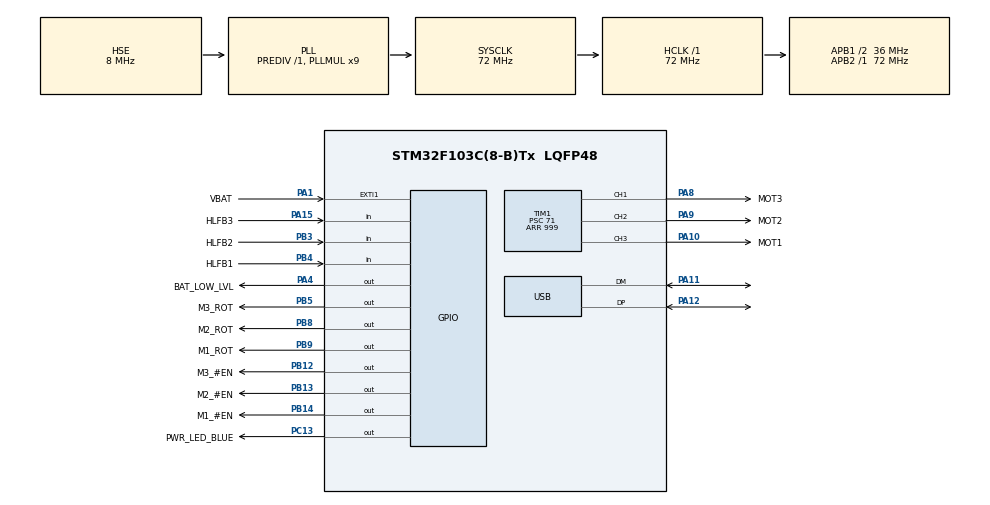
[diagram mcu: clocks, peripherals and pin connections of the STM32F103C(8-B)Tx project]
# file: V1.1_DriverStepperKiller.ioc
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Mcu.Family=STM32F1
Mcu.Name=STM32F103C(8-B)Tx
Mcu.Package=LQFP48
NVIC.EXTI1_IRQn=true\:0\:0\:true\:false\:true\:true
NVIC.PriorityGroup=NVIC_PRIORITYGROUP_4
NVIC.TIM1_BRK_IRQn=true\:0\:0\:false\:false\:true\:true
NVIC.TIM1_CC_IRQn=true\:0\:0\:false\:false\:true\:true
NVIC.TIM1_UP_IRQn=true\:0\:0\:false\:false\:true\:true
NVIC.USB_HP_CAN1_TX_IRQn=true\:1\:0\:true\:false\:true\:true
NVIC.USB_LP_CAN1_RX0_IRQn=true\:0\:0\:false\:false\:true\:false
PA1.GPIO_Label=VBAT
PA1.GPIO_ModeDefaultEXTI=GPIO_MODE_IT_FALLING
PA1.Signal=GPXTI1
PA10.GPIO_Label=MOT1
PA10.GPIO_Speed=GPIO_SPEED_FREQ_HIGH
PA10.Signal=S_TIM1_CH3
PA11.Mode=Device
PA11.Signal=USB_DM
PA12.Mode=Device
PA12.Signal=USB_DP
PA13.Mode=Serial_Wire
PA13.Signal=SYS_JTMS-SWDIO
PA14.Mode=Serial_Wire
PA14.Signal=SYS_JTCK-SWCLK
PA15.GPIO_Label=HLFB3
PA15.Signal=GPIO_Input
PA4.GPIO_Label=BAT_LOW_LVL
PA4.GPIO_Speed=GPIO_SPEED_FREQ_LOW
PA4.PinState=GPIO_PIN_SET
PA4.Signal=GPIO_Output
PA8.GPIO_Label=MOT3
PA8.GPIO_Speed=GPIO_SPEED_FREQ_HIGH
PA8.Signal=S_TIM1_CH1
PA9.GPIO_Label=MOT2
PA9.GPIO_Speed=GPIO_SPEED_FREQ_HIGH
PA9.Signal=S_TIM1_CH2
PB12.GPIO_Label=M3_\#EN
PB12.GPIO_Speed=GPIO_SPEED_FREQ_LOW
PB12.PinState=GPIO_PIN_SET
PB12.Signal=GPIO_Output
PB13.GPIO_Label=M2_\#EN
PB13.PinState=GPIO_PIN_SET
PB13.Signal=GPIO_Output
PB14.GPIO_Label=M1_\#EN
PB14.PinState=GPIO_PIN_SET
PB14.Signal=GPIO_Output
PB3.GPIO_Label=HLFB2
PB3.Signal=GPIO_Input
PB4.GPIO_Label=HLFB1
PB4.Signal=GPIO_Input
PB5.GPIO_Label=M3_ROT
PB5.GPIO_Speed=GPIO_SPEED_FREQ_HIGH
PB5.Signal=GPIO_Output
PB8.GPIO_Label=M2_ROT
PB8.GPIO_Speed=GPIO_SPEED_FREQ_HIGH
PB8.Signal=GPIO_Output
PB9.GPIO_Label=M1_ROT
PB9.GPIO_Speed=GPIO_SPEED_FREQ_HIGH
PB9.Signal=GPIO_Output
PC13-TAMPER-RTC.GPIO_Label=PWR_LED_BLUE
PC13-TAMPER-RTC.PinState=GPIO_PIN_SET
PC13-TAMPER-RTC.Signal=GPIO_Output
PD0-OSC_IN.Mode=HSE-External-Oscillator
PD0-OSC_IN.Signal=RCC_OSC_IN
PD1-OSC_OUT.Mode=HSE-External-Oscillator
PD1-OSC_OUT.Signal=RCC_OSC_OUT
ProjectManager.HeapSize=0x200
ProjectManager.StackSize=0x400
ProjectManager.TargetToolchain=MDK-ARM V5
RCC.ADCPresc=RCC_ADCPCLK2_DIV6
RCC.AHBFreq_Value=72000000
RCC.APB1CLKDivider=RCC_HCLK_DIV2
RCC.APB1Freq_Value=36000000
RCC.APB1TimFreq_Value=72000000
RCC.APB2Freq_Value=72000000
RCC.APB2TimFreq_Value=72000000
RCC.HCLKFreq_Value=72000000
RCC.PLLMUL=RCC_PLL_MUL9
RCC.SYSCLKFreq_VALUE=72000000
RCC.SYSCLKSource=RCC_SYSCLKSOURCE_PLLCLK
RCC.USBFreq_Value=48000000
RCC.USBPrescaler=RCC_USBCLKSOURCE_PLL_DIV1_5
SH.S_TIM1_CH1.0=TIM1_CH1,PWM Generation1 CH1
SH.S_TIM1_CH2.0=TIM1_CH2,PWM Generation2 CH2
SH.S_TIM1_CH3.0=TIM1_CH3,PWM Generation3 CH3
TIM1.Channel-PWM\ Generation1\ CH1=TIM_CHANNEL_1
TIM1.Channel-PWM\ Generation2\ CH2=TIM_CHANNEL_2
TIM1.Channel-PWM\ Generation3\ CH3=TIM_CHANNEL_3
TIM1.OCMode_PWM-PWM\ Generation1\ CH1=TIM_OCMODE_PWM1
TIM1.OCMode_PWM-PWM\ Generation2\ CH2=TIM_OCMODE_PWM1
TIM1.Period=999
TIM1.Prescaler=71
TIM1.Pulse-PWM\ Generation1\ CH1=499
TIM1.Pulse-PWM\ Generation2\ CH2=499
TIM1.Pulse-PWM\ Generation3\ CH3=499
TIM1.TIM_MasterOutputTrigger=TIM_TRGO_RESET
USB.ep0_mps=DEP0CTL_MPS_8
USB.low_power_enable=DISABLE
USB_DEVICE.CLASS_NAME_FS=CDC
USB_DEVICE.VirtualMode=Cdc
USB_DEVICE.VirtualModeFS=Cdc_FS
VP_TIM1_VS_ClockSourceINT.Mode=Internal
VP_TIM1_VS_OPM.Mode=OPM_bit
VP_USB_DEVICE_VS_USB_DEVICE_CDC_FS.Mode=CDC_FS
VP_WWDG_VS_WWDG.Mode=WWDG_Activate
WWDG.Prescaler=WWDG_PRESCALER_4
board=V1.1_DriverStepperKiller

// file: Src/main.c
/**
  ******************************************************************************
  * @file           : main.c
  * @brief          : Main program body
  ******************************************************************************
  * This notice applies to any and all portions of this file
  * that are not between comment pairs USER CODE BEGIN and
  * USER CODE END. Other portions of this file, whether
  * inserted by the user or by software development tools
  * are owned by their respective copyright owners.
  *
  * Copyright (c) 2018 STMicroelectronics International N.V.
  * All rights reserved.
  *
  * Redistribution and use in source and binary forms, with or without
  * modification, are permitted, provided that the following conditions are met:
  *
  * 1. Redistribution of source code must retain the above copyright notice,
  *    this list of conditions and the following disclaimer.
  * 2. Redistributions in binary form must reproduce the above copyright notice,
  *    this list of conditions and the following disclaimer in the documentation
  *    and/or other materials provided with the distribution.
  * 3. Neither the name of STMicroelectronics nor the names of other
  *    contributors to this software may be used to endorse or promote products
  *    derived from this software without specific written permission.
  * 4. This software, including modifications and/or derivative works of this
  *    software, must execute solely and exclusively on microcontroller or
  *    microprocessor devices manufactured by or for STMicroelectronics.
  * 5. Redistribution and use of this software other than as permitted under
  *    this license is void and will automatically terminate your rights under
  *    this license.
  *
  * THIS SOFTWARE IS PROVIDED BY STMICROELECTRONICS AND CONTRIBUTORS "AS IS"
  * AND ANY EXPRESS, IMPLIED OR STATUTORY WARRANTIES, INCLUDING, BUT NOT
  * LIMITED TO, THE IMPLIED WARRANTIES OF MERCHANTABILITY, FITNESS FOR A
  * PARTICULAR PURPOSE AND NON-INFRINGEMENT OF THIRD PARTY INTELLECTUAL PROPERTY
  * RIGHTS ARE DISCLAIMED TO THE FULLEST EXTENT PERMITTED BY LAW. IN NO EVENT
  * SHALL STMICROELECTRONICS OR CONTRIBUTORS BE LIABLE FOR ANY DIRECT, INDIRECT,
  * INCIDENTAL, SPECIAL, EXEMPLARY, OR CONSEQUENTIAL DAMAGES (INCLUDING, BUT NOT
  * LIMITED TO, PROCUREMENT OF SUBSTITUTE GOODS OR SERVICES; LOSS OF USE, DATA,
  * OR PROFITS; OR BUSINESS INTERRUPTION) HOWEVER CAUSED AND ON ANY THEORY OF
  * LIABILITY, WHETHER IN CONTRACT, STRICT LIABILITY, OR TORT (INCLUDING
  * NEGLIGENCE OR OTHERWISE) ARISING IN ANY WAY OUT OF THE USE OF THIS SOFTWARE,
  * EVEN IF ADVISED OF THE POSSIBILITY OF SUCH DAMAGE.
  *
  ******************************************************************************
  */
#include "main.h"
#include "stm32f1xx_hal.h"
#include "usb_device.h"
#include "usbd_cdc_if.h"

TIM_HandleTypeDef htim1;
WWDG_HandleTypeDef hwwdg;

/* USER CODE BEGIN PV */
/* Private variables ---------------------------------------------------------*/
// Constant char that specifies the motor index/nr
const uint8_t user_motNr = '1';
// This variable specifies the type of the received message
uint8_t user_received_flag_USB_msg = FLAG_UNKNOWN;

// Variable that holds the conversion value from distance in mmm to motor steps
double user_mot_revolutions = 0;

// Flag to update the RCR of timer 1
uint8_t user_flag_update_RCR = FALSE;

// Flags to account for actions taken by the user regarding, the commanded steps,distance,vel, angular vel to be performed
uint8_t user_flag_steps_to_be_performed_SET = FALSE,
				user_flag_distance_to_be_performed_SET = FALSE,
				user_flag_mot_RPM_SET = FALSE,
				user_flag_load_vel_SET = FALSE;

// Flag to account for the update of the timer registers
volatile uint8_t user_flag_TIMER_registers_update_SET = FALSE;

// This variables will be used in conjontion with the RCR (timer Repetition Counter Register)
//uint8_t user_currentStepNr = 0;
uint32_t user_number_of_RCR_overflows = 0;
uint8_t user_remaining_RCR_val = 0;

// Var that is not used yet
uint8_t user_maxStepNr = MAX_RCR_VAL;

// Var that holds the total number of performed steps and distance
int32_t user_total_steps_performed = 0;
double user_total_distance_performed = 0;

// Var that is used to compute how long takes for one mechanical rotation after the motor rezolution will be set
// From the above variable we can compute the pwm period and frequency. This will be done later in the code
double user_one_rotation_time = 0.0;
uint32_t user_pwm_period = 0;
uint32_t user_pwm_frequency = 0;

// Array of possible motor step resolutions
uint32_t user_globalStepRes[9] = {STEPS_PER_REV_200,
														 STEPS_PER_REV_400,
														 STEPS_PER_REV_800,
														 STEPS_PER_REV_1600,
														 STEPS_PER_REV_3200,
														 STEPS_PER_REV_6400,
														 STEPS_PER_REV_12800,
														 STEPS_PER_REV_25600,
														 STEPS_PER_REV_51200};

// Variables that hold the minimum accepted period of the PWM signal, which is set according to the USER selected motor rezolution
uint16_t user_pwm_min_period[9] = {PWM_MIN_PERIOD_AT_200_US,
																	PWM_MIN_PERIOD_AT_400_US,
																	PWM_MIN_PERIOD_AT_800_US,
																	PWM_MIN_PERIOD_AT_1600_US,
																	PWM_MIN_PERIOD_AT_3200_US,
																	PWM_MIN_PERIOD_AT_6400_US,
																	PWM_MIN_PERIOD_AT_12800_US,
																	PWM_MIN_PERIOD_AT_25600_US,
																	PWM_MIN_PERIOD_AT_51200_US};

// Variables that hold the motor step rezolution, axis length, screw step, and mass of the load, set by the USER
uint32_t user_set_mot_rez = 0;
uint16_t user_set_axis_len = 0, user_set_load_mass = 0;
uint8_t user_set_screw_step = 0;

// Variables that hod the comand parameteres of the comand messages
uint32_t user_set_steps = 0;

double user_set_distance = 0.0;
uint16_t Iuser_set_distance = 0;
uint8_t Fuser_set_distance = 0;

double user_mot_max_RPM = 0.0;
double user_set_motor_RPM = 0.0;
uint16_t Iuser_set_motor_RPM = 0;
uint8_t Fuser_set_motor_RPM = 0;

double user_load_max_vel = 0.0;
double user_set_load_vel = 0.0;
uint16_t Iuser_set_load_vel = 0;
uint8_t Fuser_set_load_vel = 0;

// Variable that holds the desired direction of the motor
uint8_t user_set_mot_direction = 0;

// Fixed messages that are not used yet
const uint8_t mot_start[]="@M1START\r";
const uint8_t mot_stop[]="@M1STOP\r";
const uint8_t okMsg[5]="#EOK\r";

/* USER CODE END PV */

void SystemClock_Config(void);
static void MX_GPIO_Init(void);
static void MX_TIM1_Init(void);
static void MX_WWDG_Init(void);
void HAL_TIM_MspPostInit(TIM_HandleTypeDef *htim);

/* USER CODE BEGIN PFP */
/* Private function prototypes -----------------------------------------------*/
static void USER_Clear_Array(uint8_t* array);
static uint8_t USER_Decode_Msg(void);
static uint8_t USER_ExtractNumber_FromString(uint32_t * Destination,
											 uint8_t * String,
											 uint8_t StartPosition,
											 uint8_t Length);

static void USER_Set_Mot_Dir(uint8_t direction);
static void USER_Set_Load_Dir(uint8_t direction);
static void USER_Compute_Pwm_Period(double motor_RPM);
static void USER_Start_Motor(void);
static void USER_Stop_Motor(void);
/* USER CODE END PFP */

int main(void)
{

  /* MCU Configuration----------------------------------------------------------*/

  /* Reset of all peripherals, Initializes the Flash interface and the Systick. */
  HAL_Init();

  /* Configure the system clock */
  SystemClock_Config();

  /* Initialize all configured peripherals */
  MX_GPIO_Init();
  MX_TIM1_Init();
  MX_USB_DEVICE_Init();
//  MX_WWDG_Init();
  /* Infinite loop */
  /* USER CODE BEGIN WHILE */
  while (1)
  {
		switch(user_received_flag_USB_msg)
		{
			case FLAG_UNKNOWN:
				break;

			case FLAG_OK:
				//CDC_Transmit_FS((uint8_t*)"#EOK\r",5);
				if(USER_Decode_Msg())
				{
					user_received_flag_USB_msg = FLAG_UNKNOWN;
					//HAL_GPIO_WritePin(GPIOC, GPIO_PIN_13, GPIO_PIN_SET);
				}
				else
					CDC_Transmit_FS((uint8_t*)"#ERR\r",5);
				break;

			case FLAG_OVERFLOW:
				break;

			case FLAG_ERR:
				break;
		}

  /* USER CODE END WHILE */

  }

}

//void HAL_TIM_PeriodElapsedCallback(TIM_HandleTypeDef *htim)
//{
//	if(htim->Instance == htim1.Instance)
//	{
//		// If we want an update the above flag is FALSE before executing the following line
//		if(!user_flag_TIMER_registers_update_SET)
//		{
//			user_flag_TIMER_registers_update_SET = TRUE;
//			//CDC_Transmit_FS((uint8_t*)"1",1);
//		}
//		// Else, we have a RCR overflow event
//		else
//		{
//			// Here we account for the number RCR overflows
//			if(user_number_of_RCR_overflows)
//			{
//				//CDC_Transmit_FS((uint8_t*)"#2",1);
//				user_number_of_RCR_overflows--;
//				/* Enable the Peripheral */
//				__HAL_TIM_ENABLE(htim);
//			}
//			else
//			{
//				if(user_remaining_RCR_val)
//				{
//					if(user_set_steps>MAX_RCR_VAL)
//					{
//						//CDC_Transmit_FS((uint8_t*)"#3",1);
//						// Because we need to change the value of RCR, an update of TIM1 registres is needed, therefore we change user_flag_TIMER_registers_update_SET to FALSE
//						// and next time the interrupt is fired, we enter the first IF STATEMENT.
//						htim1.Instance->RCR = user_remaining_RCR_val;
//						htim1.Instance->EGR = TIM_EGR_UG;
//						user_flag_TIMER_registers_update_SET = FALSE;
//						user_remaining_RCR_val = 0;
//						/* Enable the Peripheral */
//						__HAL_TIM_ENABLE(htim);
//					}
//					else
//					{
//						//CDC_Transmit_FS((uint8_t*)"4",1);
//						user_remaining_RCR_val = 0;
//						/* Enable the Peripheral */
//						__HAL_TIM_ENABLE(htim);
//					}
//				}
//				else
//				{
//					//CDC_Transmit_FS((uint8_t*)"5",1);
//					// Change the update TIM1 registers flag back to FALSE for the next motor START procedure
//					user_flag_TIMER_registers_update_SET = FALSE;
//					// If this point is reached, that means we finished to perform the number of steps. Therefore, we stop the PWM generation
//					__HAL_TIM_DISABLE(htim);
//					// We finally update the total number of steps that were performed based on the direction
//					if(user_set_mot_direction == ROTATE_CW)
//						user_total_steps_performed += user_set_steps;
//					else
//						user_total_steps_performed -= user_set_steps;
//
//					//sprintf((char*)user_sendUSBdata,"Current nr of steps: %0d\r", user_total_steps_performed);
//					//CDC_Transmit_FS(user_sendUSBdata,strlen((const char*)user_sendUSBdata));
//				}
//			}
//		}
//	}
//}

/**
  * @brief  Messages received over USB OUT endpoint are of certain type and are passed to a local variable here (main.c)
  *
  * @param  flag: type of the received message
  * @retval This function does not return any value. It only updates the variable "received_flag_USB_msg"
  */
void USER_Pass_MsgFlag(uint8_t flag)
{
	user_received_flag_USB_msg = flag;
}

/**
  * @brief  Function that extracts a number from a substring
  *
  * @param  Destination: A pointer to an integer value where the string will be converted to a numerical value
	* @param  String: The string message from where the substring(number) is extracted
	* @param  StartPosition: The string message starting position of the substring
	* @param  Length: The substring message length to be converted to a numerical value
  * @retval This function return TRUE if the substring was succesfully converted to a numerical value and FALSE otherwise
  */
static uint8_t USER_ExtractNumber_FromString(uint32_t * Destination,
											 uint8_t * String,
											 uint8_t StartPosition,
											 uint8_t Length)
	{
	uint8_t index;
	uint8_t val;
	(* Destination) = 0;

	for (index = StartPosition; index < StartPosition + Length; index++)
	{
			val = (String[index] - '0');
		if (val<=9)
		{
			(* Destination) *= 10;
			(* Destination) += val;
		}
		else
		{
			return FALSE;
		}
	}

	// If the function doesn't return to this position we can assune that the parameters are ok
	return TRUE;
	}

/**
  * @brief  Function that sets the motor direction.
  *
  * @param  direction: the direction can be set to ROTATE_CW (clockwise) or ROTATE_CCW (counterclockwise)
  * @retval This function does not return any value.
  */
	static void USER_Set_Mot_Dir(uint8_t direction)
{
	if(direction == '+')
	{
		// Go clockwise
		HAL_GPIO_WritePin(M3_ROT_GPIO_Port,M3_ROT_Pin, ROTATE_CW);
		user_set_mot_direction = ROTATE_CW;
	}
	if(direction == '-')
	{
		// Go counter-clockwise
		HAL_GPIO_WritePin(M3_ROT_GPIO_Port,M3_ROT_Pin, ROTATE_CCW);
		user_set_mot_direction = ROTATE_CCW;
	}
}

/**
  * @brief  Function that sets the linear load direction.
  *
  * @param  direction: the direction can be set to FORWARD or BACKWARD
  * @retval This function does not return any value.
  */
static void USER_Set_Load_Dir(uint8_t direction)
{
	if(direction == '+')
	{
		// Go clockwise
		HAL_GPIO_WritePin(M3_ROT_GPIO_Port,M3_ROT_Pin, FORWARD);
		user_total_distance_performed += user_set_distance;
	}
	if(direction == '-')
	{
		// Go counter-clockwise
		HAL_GPIO_WritePin(M3_ROT_GPIO_Port,M3_ROT_Pin, BACKWARD);
		user_total_distance_performed -= user_set_distance;
	}
}

/**
  * @brief  Function that clears the content of the given array.
  *
  * @param  array: the address of the array to be cleared
  * @retval This function does not return any value.
  */
static void USER_Clear_Array(uint8_t* array)
{
	uint8_t i;
	for(i=0; i< strlen((const char*)array); i++)
	{
		array[i] = 0x00;
	}
}

/**
*/
static void USER_Compute_Pwm_Period(double motor_RPM)
{
	// If we set an angular speed grater to the one specific to motor rezolution then we neglect it
		if(motor_RPM > user_mot_max_RPM)
			motor_RPM = user_mot_max_RPM;
		/* Update the prescaler or/and the period to obtain the desired motor RPM */
		// We firstly compute the time needed for one mechanical rotation
		user_one_rotation_time = MINUTE_TO_US/motor_RPM;

		// Now we compute the period in increments of 125 ns.
		user_pwm_period = (uint32_t)((user_one_rotation_time*8)/user_set_mot_rez);

		// If the period is grater than the max value taht can be assigned to the TIM->ARR register we need to change the prescaler
		if(user_pwm_period < 65535)
		{
			// Change the prescaler to have an increment of 5us for each count
			htim1.Instance->PSC = 8;	// Using this value, we manage to obtain the minimum time increment, which will be ((8+1)*1s) / 72000000 MHz = 125 ns

			// The real result is down-rounded, so we need to assure that in case of MAX vel, the period will be set to a safe value
			// and that means to go up (PWM frequency will go down)
			if(((user_one_rotation_time*8)/user_set_mot_rez) > user_pwm_period)
			{
				user_pwm_period++;
			}
		}
		else
		{
			// Change the prescaler
			htim1.Instance->PSC = 359; // Using this value, we manage to obtain an increment of 5us ((359+1)*1s) / 72000000 MHz = 5 us
			// Change the prescaler to have an increment of 5us for each count
			// The real result is down-rounded, so we need to assure that in case of MAX vel, the period will be set to a safe value
			// and that means to go up (PWM frequency will go down)
			user_pwm_period /= 40;
			if(((user_one_rotation_time*8)/user_set_mot_rez)/40 > user_pwm_period)
			{
				user_pwm_period++;
			}
		}

		// The final value for the period of the PWM signal is obtained here and we need to update the TIM1 registers
		// in order to have the right frequency and duty cycle
		htim1.Instance->ARR = user_pwm_period-1;
		htim1.Instance->CCR3 = user_pwm_period/2;
		sprintf((char*)user_sendUSBdata,"Prescaler: %0d\rPWM period, pulse: %0d, %0d\rRCR value: %0d\r",htim1.Instance->PSC, user_pwm_period, user_pwm_period/2,htim1.Instance->RCR);
		CDC_Transmit_FS(user_sendUSBdata,strlen((const char*)user_sendUSBdata));
		// We know the period. Now we can compute the frequency and update the timer 1 registers.
		// Last update: 22.11.2018. The pwm frequency might be redundant to be calculated
		//user_pwm_frequency = (uint32_t)((1/user_pwm_period)* 1000000);
}

/**
*/
void USER_Start_Motor(void)
{
	/* Nu pot sa verific aceasta functie in modul DEBUG, pentru ca apare un conflict cu aplicatia TERMINAL.EXE pe care o folosesc sa trimit mesaje!!!!!! */
	// MESAJUL DE MAI SUS VA TREBUI SA FIE STERS DUPA REZOLVARE!
	if((user_flag_steps_to_be_performed_SET || user_flag_distance_to_be_performed_SET) &&
		(user_flag_mot_RPM_SET || user_flag_load_vel_SET))
	{
		//CDC_Transmit_FS((uint8_t*)"#EOK\r",5);
		// We firstly need to enable interrupts to update the PRESCALER, PERIOD AND REPETITTION COUNTER resgister. So, we set the correspondig BIT of TIM1 EGR
		htim1.Instance->EGR = TIM_EGR_UG;

		__HAL_TIM_ENABLE_IT(&htim1,TIM_IT_UPDATE);

			//Enable the motor
		HAL_GPIO_WritePin(M3__EN_GPIO_Port,M3__EN_Pin,ON);

		// Start PWM to perform steps.
		// !!! A macro will be used to replace "TIM_CHANNEL_1" from above.
		HAL_TIM_PWM_Start(&htim1,TIM_CHANNEL_1);
		// After the interrupt is fired and the registers are all set, the next waiting while statement will become FALSE
		// and the motor start procedure contunies
		//while(!user_flag_TIMER_registers_update_SET);
		//CDC_Transmit_FS((uint8_t*)"6",1);

	}
}

void USER_Stop_Motor(void)
{
	//Disable the motor
	HAL_GPIO_WritePin(M3__EN_GPIO_Port,M3__EN_Pin,OFF);
}

/**
  * @brief  This function checks the received message, sent by the USER over USB.
  *
  * @param  This function does not take any arguments.
  * @retval This function does not return any value.
  */
static uint8_t USER_Decode_Msg(void)
{
	uint16_t pos = 0, i;
	uint32_t local_drecvUSBdata = 0;
	//CDC_Transmit_FS(&rcvUSBdata[pos],1);
	// Before decoding the message, we clear the array of sending char to be updated
	USER_Clear_Array(user_sendUSBdata);
	if(user_rcvUSBdata[pos++] == ASCII_START_CH)
	{
		if(user_rcvUSBdata[pos] == 'M')
		{
			//CDC_Transmit_FS((uint8_t*)"#EOK3\r",6);
			if(user_rcvUSBdata[++pos] == user_motNr)
			{
				//CDC_Transmit_FS((uint8_t*)"#EOK4\r",6);
				switch(user_rcvUSBdata[++pos])
				{
					case 'S':
						if(user_rcvUSBdata[++pos] == 'T')
						{
							if(user_rcvUSBdata[++pos] == 'A')
							{
								if(user_rcvUSBdata[++pos] == 'R')
									if(user_rcvUSBdata[++pos] == 'T')
										if(user_rcvUSBdata[++pos] == '\r')
										{
											//CDC_Transmit_FS((uint8_t*)"#EOK\r",5);
											USER_Start_Motor();
											return TRUE;
										}

							}
							if(user_rcvUSBdata[++pos] == 'O')
							{
								if(user_rcvUSBdata[++pos] == 'P')
									if(user_rcvUSBdata[++pos] == '\r')
									{
										USER_Stop_Motor();
										return TRUE;
									}
							}
						}
						break;

					/* ---------------------------------------------	Decode configuration messages --------------------------------------------------------*/
					case SET_STEP_RESOLUTION:
						// Message parameters verification
						if(user_rcvUSBdata[(strlen((const char*)user_rcvUSBdata)-1)]== ASCII_END_CH)
						{
							// If the number of the received characters is the expected one
							//< For the moment we only check that the last char is the ASCII_END_CH. Thus this does not confirm that the length of the message is the right one.....>
							if(USER_ExtractNumber_FromString(&local_drecvUSBdata,user_rcvUSBdata,4,6))
							{
								// It seems that doing strlen to a uint32_t array does not work. So we directly inserted the length of the array
								//for( i= 0; i<strlen(const char*)globalStepRes;i++)
								user_set_mot_rez = 0;
								for( i= 0; i<9;i++)
								{
									if(user_globalStepRes[i] == local_drecvUSBdata)
									{
										user_set_mot_rez = local_drecvUSBdata;
										// If we know the rezolution, then we can compute what will be the minimum time for one mechanical rotation in us
										user_one_rotation_time = user_set_mot_rez * user_pwm_min_period[i];
										// Now we can find out what is the maximum RPM in this mode
										user_mot_max_RPM = (double)MINUTE_TO_US/user_one_rotation_time;
										// If the know the screw step, then we can compute the maximum linear vel of the load
										if(user_set_screw_step > 0)
										{
											user_load_max_vel = (user_mot_max_RPM*user_set_screw_step)/MINUTE_TO_SECOND;
										}
									}
								}
								sprintf((char*)user_sendUSBdata,"Motor max RPM: %0.2f\r",user_mot_max_RPM);
								CDC_Transmit_FS(user_sendUSBdata,strlen((const char*)user_sendUSBdata));
								return TRUE;
							}
						}
						break;

					case SET_AXIS_LEN:
						// Message parameters verification
						if(user_rcvUSBdata[(strlen((const char*)user_rcvUSBdata)-1)]== ASCII_END_CH)
							{
								// If the number of the received characters is the expected one
								//< For the moment we only check that the last char is the ASCII_END_CH. Thus this does not confirm that the length of the message is the right one.....>
								if(USER_ExtractNumber_FromString(&local_drecvUSBdata,user_rcvUSBdata,4,4))
								{
									//HAL_GPIO_WritePin(GPIOC, GPIO_PIN_13,GPIO_PIN_RESET);
									user_set_axis_len = local_drecvUSBdata;
								}
								sprintf((char*)user_sendUSBdata,"Axis length: %d\r",user_set_axis_len);
								CDC_Transmit_FS(user_sendUSBdata,strlen((const char*)user_sendUSBdata));
								return TRUE;
							}
						break;

					case SET_SCREW_STEP:
						// Message parameters verification
						if(user_rcvUSBdata[(strlen((const char*)user_rcvUSBdata)-1)]== ASCII_END_CH)
						{
							// If the number of the received characters is the expected one
							//< For the moment we only check that the last char is the ASCII_END_CH. Thus this does not confirm that the length of the message is the right one.....>
							if(USER_ExtractNumber_FromString(&local_drecvUSBdata,user_rcvUSBdata,4,2))
							{
								//HAL_GPIO_WritePin(GPIOC, GPIO_PIN_13,GPIO_PIN_RESET);
								user_set_screw_step = local_drecvUSBdata;
								// If the know the motor rezolution, we know the maximum motor RPM and we can compute the maximum linear vel of the load
								if(user_mot_max_RPM > 0)
								{
									user_load_max_vel = (user_mot_max_RPM*user_set_screw_step)/MINUTE_TO_SECOND;
								}
								sprintf((char*)user_sendUSBdata,"Load max linear speed: %0.2f\r",user_load_max_vel);
								CDC_Transmit_FS(user_sendUSBdata,strlen((const char*)user_sendUSBdata));
								return TRUE;
							}
						}
						break;

					case SET_LOAD_MASS:
						// Message parameters verification
						if(user_rcvUSBdata[(strlen((const char*)user_rcvUSBdata)-1)]== ASCII_END_CH)
						{
							// If the number of the received characters is the expected one
							//< For the moment we only check that the last char is the ASCII_END_CH. Thus this does not confirm that the length of the message is the right one.....>
							if(USER_ExtractNumber_FromString(&local_drecvUSBdata,user_rcvUSBdata,4,4))
							{
								//HAL_GPIO_WritePin(GPIOC, GPIO_PIN_13,GPIO_PIN_RESET);
								user_set_load_mass = local_drecvUSBdata;
								sprintf((char*)user_sendUSBdata,"Load mass: %d\r",user_set_load_mass);
								CDC_Transmit_FS(user_sendUSBdata,strlen((const char*)user_sendUSBdata));
								return TRUE;
							}
						}
						break;

						/* ---------------------------------------------	Decode command messages --------------------------------------------------------*/
					case STEPS_TO_BE_PERFORMED:
						// Message parameters verification
						if(user_rcvUSBdata[(strlen((const char*)user_rcvUSBdata)-1)]== ASCII_END_CH)
						{
							// If the number of the received characters is the expected one
							//< For the moment we only check that the last char is the ASCII_END_CH. Thus this does not confirm that the length of the message is the right one.....>
							if(USER_ExtractNumber_FromString(&local_drecvUSBdata,user_rcvUSBdata,5,9))
							{
								//HAL_GPIO_WritePin(GPIOC, GPIO_PIN_13,GPIO_PIN_RESET);
								user_set_steps = local_drecvUSBdata;
								// If the number of steps is greater than 0, take action, otherwise, do nothing
								if(user_set_steps>0)
								{
									// We need to update the compute for the value of the RCR in order to perform the desired nr of steps when the motor will be turned ON
									user_number_of_RCR_overflows = user_set_steps / (uint32_t)MAX_RCR_VAL;
									user_remaining_RCR_val = user_set_steps % (uint32_t)MAX_RCR_VAL;
									//If "user_number_of_RCR_overflows" variable is different from 0, we set the RCR to its max value.
									// We therefore decrement "user_number_of_RCR_overflows" until it reaches 0
									if(user_number_of_RCR_overflows>0)
									{
										htim1.Instance->RCR = MAX_RCR_VAL-1;
									}
									// Otherwise, we check to see if the "user_remaining_RCR_val" variable is different from zero and if true
									// we set the RCR to this value. Therefore we will have less than MAX_RCR_VAL steps to perform.
									else
									{
										if(user_remaining_RCR_val>0)
										{
											htim1.Instance->RCR = user_remaining_RCR_val-1;
										}
										else
										{
											// If this point is reached, there is an error in the code!
											//CDC_Transmit_FS((uint8_t*)"#EOK\r",5);
											return FALSE;
										}
									}
									// We make the flag true for the moment when the USER will hit the START button
									user_flag_steps_to_be_performed_SET = TRUE;
									sprintf((char*)user_sendUSBdata,"No. of RCR overflows/remain: %d/%d\r",user_number_of_RCR_overflows,user_remaining_RCR_val);
									CDC_Transmit_FS(user_sendUSBdata,strlen((const char*)user_sendUSBdata));
								}
							}
							// We set the motor direction
							USER_Set_Mot_Dir(user_rcvUSBdata[4]);
							return TRUE;
						}
						break;

					case DISTANCE_TO_BE_PERFORMED:
						/* ------------------------- LAST UPDATE: 24.11.2018 ----------------------------------------*/
						// WE NEED DO INCREASE PRECISION FROM 2 ---> 4 DIGITS AFTER POINT
						if((user_set_screw_step) && (user_set_mot_rez))
						{
							// Message parameters verification
							if(user_rcvUSBdata[(strlen((const char*)user_rcvUSBdata)-1)]== ASCII_END_CH)
							{
								// If the number of the received characters is the expected one
								//< For the moment we only check that the last char is the ASCII_END_CH. Thus this does not confirm that the length of the message is the right one.....>
								if(USER_ExtractNumber_FromString(&local_drecvUSBdata,user_rcvUSBdata,5,3))
								{
									Iuser_set_distance = local_drecvUSBdata;
								}
								// Reset the variable to receive a new value
								local_drecvUSBdata = 0;
								if(user_rcvUSBdata[8] == ',')
								{
									if(USER_ExtractNumber_FromString(&local_drecvUSBdata,user_rcvUSBdata,9,2))
									{
										Fuser_set_distance = local_drecvUSBdata;
										user_set_distance = (double)Fuser_set_distance/100 + Iuser_set_distance;
										// If there is a value different from 0 for the desired distance to be performed, we take action, otherwise do nothing
										if(user_set_distance>0.0)
										{
											// Here we must convert the distance to be covered in motor steps based on the screw step and rezolution value
											user_mot_revolutions = user_set_distance/user_set_screw_step;
											user_set_steps = (uint32_t)((user_mot_revolutions*STEPS_FOR_1_MECHANICAL_ROTATION)/
																				(STEPS_FOR_1_MECHANICAL_ROTATION / user_set_mot_rez));

											user_flag_distance_to_be_performed_SET = TRUE;
											sprintf((char*)user_sendUSBdata,"Resulting nr of steps: %0d\r",user_set_steps);
											CDC_Transmit_FS(user_sendUSBdata,strlen((const char*)user_sendUSBdata));
										}
									}
								}
								// We set the motor direction
								USER_Set_Load_Dir(user_rcvUSBdata[4]);
								return TRUE;
							}
						}
						break;

					case MOT_ANGULAR_VEL:
						if(user_set_mot_rez)
						{
							// Message parameters verification
							if(user_rcvUSBdata[(strlen((const char*)user_rcvUSBdata)-1)]== ASCII_END_CH)
							{
								// If the number of the received characters is the expected one
								//< For the moment we only check that the last char is the ASCII_END_CH. Thus this does not confirm that the length of the message is the right one.....>
								if(USER_ExtractNumber_FromString(&local_drecvUSBdata,user_rcvUSBdata,4,4))
								{
									//HAL_GPIO_WritePin(GPIOC, GPIO_PIN_13,GPIO_PIN_RESET);
									Iuser_set_motor_RPM = local_drecvUSBdata;
									//sprintf((char*)sendUSBdata,"Numar pasi: %d\r",USER_Set_Steps);
									//CDC_Transmit_FS(sendUSBdata,strlen((const char*)sendUSBdata));

								}
								// Reset the variable to receive a new value
								local_drecvUSBdata = 0;
								if(user_rcvUSBdata[8] == ',')
								{
									if(USER_ExtractNumber_FromString(&local_drecvUSBdata,user_rcvUSBdata,9,2))
									{
										Fuser_set_motor_RPM = local_drecvUSBdata;
										user_set_motor_RPM = (double)Fuser_set_motor_RPM/100 + Iuser_set_motor_RPM;
										// If we got a value different from 0 take action, otherwise do nothing
										if(user_set_motor_RPM>0)
										{
											USER_Compute_Pwm_Period(user_set_motor_RPM);
											//sprintf((char*)user_sendUSBdata,"Motor RPM: %0.2f\r",user_set_motor_RPM);
											//CDC_Transmit_FS(user_sendUSBdata,strlen((const char*)user_sendUSBdata));
											user_flag_mot_RPM_SET = TRUE;
											return TRUE;
										}
									}
								}
							}
						}
						break;

					case MASS_LINEAR_VEL:
						/* ------------------------- LAST UPDATE: 24.11.2018 ----------------------------------------*/
						// WE NEED DO INCREASE PRECISION FROM 2 ---> 4 DIGITS AFTER POINT
						if((user_set_mot_rez) && (user_set_screw_step))
						{
							// Message parameters verification
							if(user_rcvUSBdata[(strlen((const char*)user_rcvUSBdata)-1)]== ASCII_END_CH)
							{
								// If the number of the received characters is the expected one
								//< For the moment we only check that the last char is the ASCII_END_CH. Thus this does not confirm that the length of the message is the right one.....>
								if(USER_ExtractNumber_FromString(&local_drecvUSBdata,user_rcvUSBdata,4,3))
								{
									//HAL_GPIO_WritePin(GPIOC, GPIO_PIN_13,GPIO_PIN_RESET);
									Iuser_set_load_vel = local_drecvUSBdata;
									//sprintf((char*)sendUSBdata,"Numar pasi: %d\r",USER_Set_Steps);
									//CDC_Transmit_FS(sendUSBdata,strlen((const char*)sendUSBdata));

								}
								// Reset the variable to receive a new value
								local_drecvUSBdata = 0;
								if(user_rcvUSBdata[7] == ',')
								{
									if(USER_ExtractNumber_FromString(&local_drecvUSBdata,user_rcvUSBdata,8,2))
									{
										Fuser_set_load_vel = local_drecvUSBdata;
										user_set_load_vel = (double)Fuser_set_load_vel/100 + Iuser_set_load_vel;
										// If we got a value different from 0 take action, otherwise do nothing
										if(user_set_load_vel>0)
										{
											// Now we can compute the required frequency of the pwm signal based on the load speed and the screw step
											user_set_motor_RPM = (user_set_load_vel * MINUTE_TO_SECOND)/user_set_screw_step;
											USER_Compute_Pwm_Period(user_set_motor_RPM);
											user_flag_load_vel_SET = TRUE;
											//sprintf((char*)user_sendUSBdata,"Load linear vel: %0.2f[mm/s]\r",user_set_load_vel);
											//CDC_Transmit_FS(user_sendUSBdata,strlen((const char*)user_sendUSBdata));
										}
										return TRUE;
									}
								}
							}
						}
						break;
				}
			}
		}
		if(user_rcvUSBdata[pos] == 'P')
		{
			if(user_rcvUSBdata[++pos] == 'N')
			{
				if(user_rcvUSBdata[++pos] == 'G')
				{
					if(user_rcvUSBdata[++pos] == ASCII_END_CH)
					{
						CDC_Transmit_FS((uint8_t*)"#EOK\r",5);
						return TRUE;
					}
				}
			}
		 }
	}
	return FALSE;
}

void SystemClock_Config(void)
{

  RCC_OscInitTypeDef RCC_OscInitStruct;
  RCC_ClkInitTypeDef RCC_ClkInitStruct;
  RCC_PeriphCLKInitTypeDef PeriphClkInit;

    /**Initializes the CPU, AHB and APB busses clocks
    */
  RCC_OscInitStruct.OscillatorType = RCC_OSCILLATORTYPE_HSE;
  RCC_OscInitStruct.HSEState = RCC_HSE_ON;
  RCC_OscInitStruct.HSEPredivValue = RCC_HSE_PREDIV_DIV1;
  RCC_OscInitStruct.HSIState = RCC_HSI_ON;
  RCC_OscInitStruct.PLL.PLLState = RCC_PLL_ON;
  RCC_OscInitStruct.PLL.PLLSource = RCC_PLLSOURCE_HSE;
  RCC_OscInitStruct.PLL.PLLMUL = RCC_PLL_MUL9;
  if (HAL_RCC_OscConfig(&RCC_OscInitStruct) != HAL_OK)
  {
    _Error_Handler(__FILE__, __LINE__);
  }

    /**Initializes the CPU, AHB and APB busses clocks
    */
  RCC_ClkInitStruct.ClockType = RCC_CLOCKTYPE_HCLK|RCC_CLOCKTYPE_SYSCLK
                              |RCC_CLOCKTYPE_PCLK1|RCC_CLOCKTYPE_PCLK2;
  RCC_ClkInitStruct.SYSCLKSource = RCC_SYSCLKSOURCE_PLLCLK;
  RCC_ClkInitStruct.AHBCLKDivider = RCC_SYSCLK_DIV1;
  RCC_ClkInitStruct.APB1CLKDivider = RCC_HCLK_DIV2;
  RCC_ClkInitStruct.APB2CLKDivider = RCC_HCLK_DIV1;

  if (HAL_RCC_ClockConfig(&RCC_ClkInitStruct, FLASH_LATENCY_2) != HAL_OK)
  {
    _Error_Handler(__FILE__, __LINE__);
  }

  PeriphClkInit.PeriphClockSelection = RCC_PERIPHCLK_USB;
  PeriphClkInit.UsbClockSelection = RCC_USBCLKSOURCE_PLL_DIV1_5;
  if (HAL_RCCEx_PeriphCLKConfig(&PeriphClkInit) != HAL_OK)
  {
    _Error_Handler(__FILE__, __LINE__);
  }

    /**Configure the Systick interrupt time
    */
  HAL_SYSTICK_Config(HAL_RCC_GetHCLKFreq()/1000);

    /**Configure the Systick
    */
  HAL_SYSTICK_CLKSourceConfig(SYSTICK_CLKSOURCE_HCLK);

  /* SysTick_IRQn interrupt configuration */
  HAL_NVIC_SetPriority(SysTick_IRQn, 0, 0);
}

/* TIM1 init function */
static void MX_TIM1_Init(void)
{

  TIM_ClockConfigTypeDef sClockSourceConfig;
  TIM_MasterConfigTypeDef sMasterConfig;
  TIM_OC_InitTypeDef sConfigOC;
  TIM_BreakDeadTimeConfigTypeDef sBreakDeadTimeConfig;

  htim1.Instance = TIM1;
  htim1.Init.Prescaler = 8;	// Using this value, we manage to obtain the minimum time increment, which will be 8s / 72000000 MHz = 125 ns
  htim1.Init.CounterMode = TIM_COUNTERMODE_UP;
  htim1.Init.Period = 15;	// The period will be modified by the user based on the PWM characteristics for the motor control
  htim1.Init.ClockDivision = TIM_CLOCKDIVISION_DIV1;
  htim1.Init.RepetitionCounter = 0;	// The repetition counter will be also modified by the user based on the number of steps to be performed
  htim1.Init.AutoReloadPreload = TIM_AUTORELOAD_PRELOAD_DISABLE;
  if (HAL_TIM_Base_Init(&htim1) != HAL_OK)
  {
    _Error_Handler(__FILE__, __LINE__);
  }

  sClockSourceConfig.ClockSource = TIM_CLOCKSOURCE_INTERNAL;
  if (HAL_TIM_ConfigClockSource(&htim1, &sClockSourceConfig) != HAL_OK)
  {
    _Error_Handler(__FILE__, __LINE__);
  }

  if (HAL_TIM_PWM_Init(&htim1) != HAL_OK)
  {
    _Error_Handler(__FILE__, __LINE__);
  }

  if (HAL_TIM_OnePulse_Init(&htim1, TIM_OPMODE_SINGLE) != HAL_OK)
  {
    _Error_Handler(__FILE__, __LINE__);
  }

  sMasterConfig.MasterOutputTrigger = TIM_TRGO_RESET;
  sMasterConfig.MasterSlaveMode = TIM_MASTERSLAVEMODE_DISABLE;
  if (HAL_TIMEx_MasterConfigSynchronization(&htim1, &sMasterConfig) != HAL_OK)
  {
    _Error_Handler(__FILE__, __LINE__);
  }

  sConfigOC.OCMode = TIM_OCMODE_PWM1;
  sConfigOC.Pulse = (htim1.Init.Period+1)/2; // To obtain 50% duty cycle
  sConfigOC.OCPolarity = TIM_OCPOLARITY_HIGH;
  sConfigOC.OCNPolarity = TIM_OCNPOLARITY_HIGH;
  sConfigOC.OCFastMode = TIM_OCFAST_DISABLE;
  sConfigOC.OCIdleState = TIM_OCIDLESTATE_RESET;
  sConfigOC.OCNIdleState = TIM_OCNIDLESTATE_RESET;
  if (HAL_TIM_PWM_ConfigChannel(&htim1, &sConfigOC, TIM_CHANNEL_1) != HAL_OK)
  {
    _Error_Handler(__FILE__, __LINE__);
  }

  if (HAL_TIM_PWM_ConfigChannel(&htim1, &sConfigOC, TIM_CHANNEL_2) != HAL_OK)
  {
    _Error_Handler(__FILE__, __LINE__);
  }

  if (HAL_TIM_PWM_ConfigChannel(&htim1, &sConfigOC, TIM_CHANNEL_3) != HAL_OK)
  {
    _Error_Handler(__FILE__, __LINE__);
  }

  sBreakDeadTimeConfig.OffStateRunMode = TIM_OSSR_DISABLE;
  sBreakDeadTimeConfig.OffStateIDLEMode = TIM_OSSI_DISABLE;
  sBreakDeadTimeConfig.LockLevel = TIM_LOCKLEVEL_OFF;
  sBreakDeadTimeConfig.DeadTime = 0;
  sBreakDeadTimeConfig.BreakState = TIM_BREAK_DISABLE;
  sBreakDeadTimeConfig.BreakPolarity = TIM_BREAKPOLARITY_HIGH;
  sBreakDeadTimeConfig.AutomaticOutput = TIM_AUTOMATICOUTPUT_DISABLE;
  if (HAL_TIMEx_ConfigBreakDeadTime(&htim1, &sBreakDeadTimeConfig) != HAL_OK)
  {
    _Error_Handler(__FILE__, __LINE__);
  }

  HAL_TIM_MspPostInit(&htim1);

}

/* WWDG init function */
static void MX_WWDG_Init(void)
{

  hwwdg.Instance = WWDG;
  hwwdg.Init.Prescaler = WWDG_PRESCALER_4;
  hwwdg.Init.Window = 64;
  hwwdg.Init.Counter = 64;
  hwwdg.Init.EWIMode = WWDG_EWI_DISABLE;
  if (HAL_WWDG_Init(&hwwdg) != HAL_OK)
  {
    _Error_Handler(__FILE__, __LINE__);
  }

}

/** Configure pins as
        * Analog
        * Input
        * Output
        * EVENT_OUT
        * EXTI
        * Free pins are configured automatically as Analog (this feature is enabled through
        * the Code Generation settings)
*/
static void MX_GPIO_Init(void)
{

  GPIO_InitTypeDef GPIO_InitStruct;

  /* GPIO Ports Clock Enable */
  __HAL_RCC_GPIOC_CLK_ENABLE();
  __HAL_RCC_GPIOD_CLK_ENABLE();
  __HAL_RCC_GPIOA_CLK_ENABLE();
  __HAL_RCC_GPIOB_CLK_ENABLE();

  /*Configure GPIO pin Output Level */
  HAL_GPIO_WritePin(PWR_LED_BLUE_GPIO_Port, PWR_LED_BLUE_Pin, GPIO_PIN_SET);

  /*Configure GPIO pin Output Level */
  HAL_GPIO_WritePin(BAT_LOW_LVL_GPIO_Port, BAT_LOW_LVL_Pin, GPIO_PIN_SET);

  /*Configure GPIO pin Output Level */
  HAL_GPIO_WritePin(GPIOB, M3__EN_Pin|M2__EN_Pin|M1__EN_Pin, GPIO_PIN_SET);

  /*Configure GPIO pin Output Level */
  HAL_GPIO_WritePin(GPIOB, M3_ROT_Pin|M2_ROT_Pin|M1_ROT_Pin, GPIO_PIN_RESET);

  /*Configure GPIO pin : PWR_LED_BLUE_Pin */
  GPIO_InitStruct.Pin = PWR_LED_BLUE_Pin;
  GPIO_InitStruct.Mode = GPIO_MODE_OUTPUT_PP;
  GPIO_InitStruct.Speed = GPIO_SPEED_FREQ_LOW;
  HAL_GPIO_Init(PWR_LED_BLUE_GPIO_Port, &GPIO_InitStruct);

  /*Configure GPIO pins : PC14 PC15 */
  GPIO_InitStruct.Pin = GPIO_PIN_14|GPIO_PIN_15;
  GPIO_InitStruct.Mode = GPIO_MODE_ANALOG;
  HAL_GPIO_Init(GPIOC, &GPIO_InitStruct);

  /*Configure GPIO pins : PA0 PA2 PA3 PA5
                           PA6 PA7 */
  GPIO_InitStruct.Pin = GPIO_PIN_0|GPIO_PIN_2|GPIO_PIN_3|GPIO_PIN_5
                          |GPIO_PIN_6|GPIO_PIN_7;
  GPIO_InitStruct.Mode = GPIO_MODE_ANALOG;
  HAL_GPIO_Init(GPIOA, &GPIO_InitStruct);

  /*Configure GPIO pin : VBAT_Pin */
  GPIO_InitStruct.Pin = VBAT_Pin;
  GPIO_InitStruct.Mode = GPIO_MODE_IT_FALLING;
  GPIO_InitStruct.Pull = GPIO_NOPULL;
  HAL_GPIO_Init(VBAT_GPIO_Port, &GPIO_InitStruct);

  /*Configure GPIO pin : BAT_LOW_LVL_Pin */
  GPIO_InitStruct.Pin = BAT_LOW_LVL_Pin;
  GPIO_InitStruct.Mode = GPIO_MODE_OUTPUT_PP;
  GPIO_InitStruct.Speed = GPIO_SPEED_FREQ_LOW;
  HAL_GPIO_Init(BAT_LOW_LVL_GPIO_Port, &GPIO_InitStruct);

  /*Configure GPIO pins : PB0 PB1 PB2 PB10
                           PB11 PB15 PB6 PB7 */
  GPIO_InitStruct.Pin = GPIO_PIN_0|GPIO_PIN_1|GPIO_PIN_2|GPIO_PIN_10
                          |GPIO_PIN_11|GPIO_PIN_15|GPIO_PIN_6|GPIO_PIN_7;
  GPIO_InitStruct.Mode = GPIO_MODE_ANALOG;
  HAL_GPIO_Init(GPIOB, &GPIO_InitStruct);

  /*Configure GPIO pins : M3__EN_Pin M2__EN_Pin M1__EN_Pin */
  GPIO_InitStruct.Pin = M3__EN_Pin|M2__EN_Pin|M1__EN_Pin;
  GPIO_InitStruct.Mode = GPIO_MODE_OUTPUT_PP;
  GPIO_InitStruct.Speed = GPIO_SPEED_FREQ_LOW;
  HAL_GPIO_Init(GPIOB, &GPIO_InitStruct);

  /*Configure GPIO pin : HLFB3_Pin */
  GPIO_InitStruct.Pin = HLFB3_Pin;
  GPIO_InitStruct.Mode = GPIO_MODE_INPUT;
  GPIO_InitStruct.Pull = GPIO_NOPULL;
  HAL_GPIO_Init(HLFB3_GPIO_Port, &GPIO_InitStruct);

  /*Configure GPIO pins : HLFB2_Pin HLFB1_Pin */
  GPIO_InitStruct.Pin = HLFB2_Pin|HLFB1_Pin;
  GPIO_InitStruct.Mode = GPIO_MODE_INPUT;
  GPIO_InitStruct.Pull = GPIO_NOPULL;
  HAL_GPIO_Init(GPIOB, &GPIO_InitStruct);

  /*Configure GPIO pins : M3_ROT_Pin M2_ROT_Pin M1_ROT_Pin */
  GPIO_InitStruct.Pin = M3_ROT_Pin|M2_ROT_Pin|M1_ROT_Pin;
  GPIO_InitStruct.Mode = GPIO_MODE_OUTPUT_PP;
  GPIO_InitStruct.Speed = GPIO_SPEED_FREQ_HIGH;
  HAL_GPIO_Init(GPIOB, &GPIO_InitStruct);

  /* EXTI interrupt init*/
  HAL_NVIC_SetPriority(EXTI1_IRQn, 0, 0);
  HAL_NVIC_EnableIRQ(EXTI1_IRQn);

}

void _Error_Handler(char *file, int line)
{
  while(1)
  {
  }
}

/************************ (C) COPYRIGHT STMicroelectronics *****END OF FILE****/
